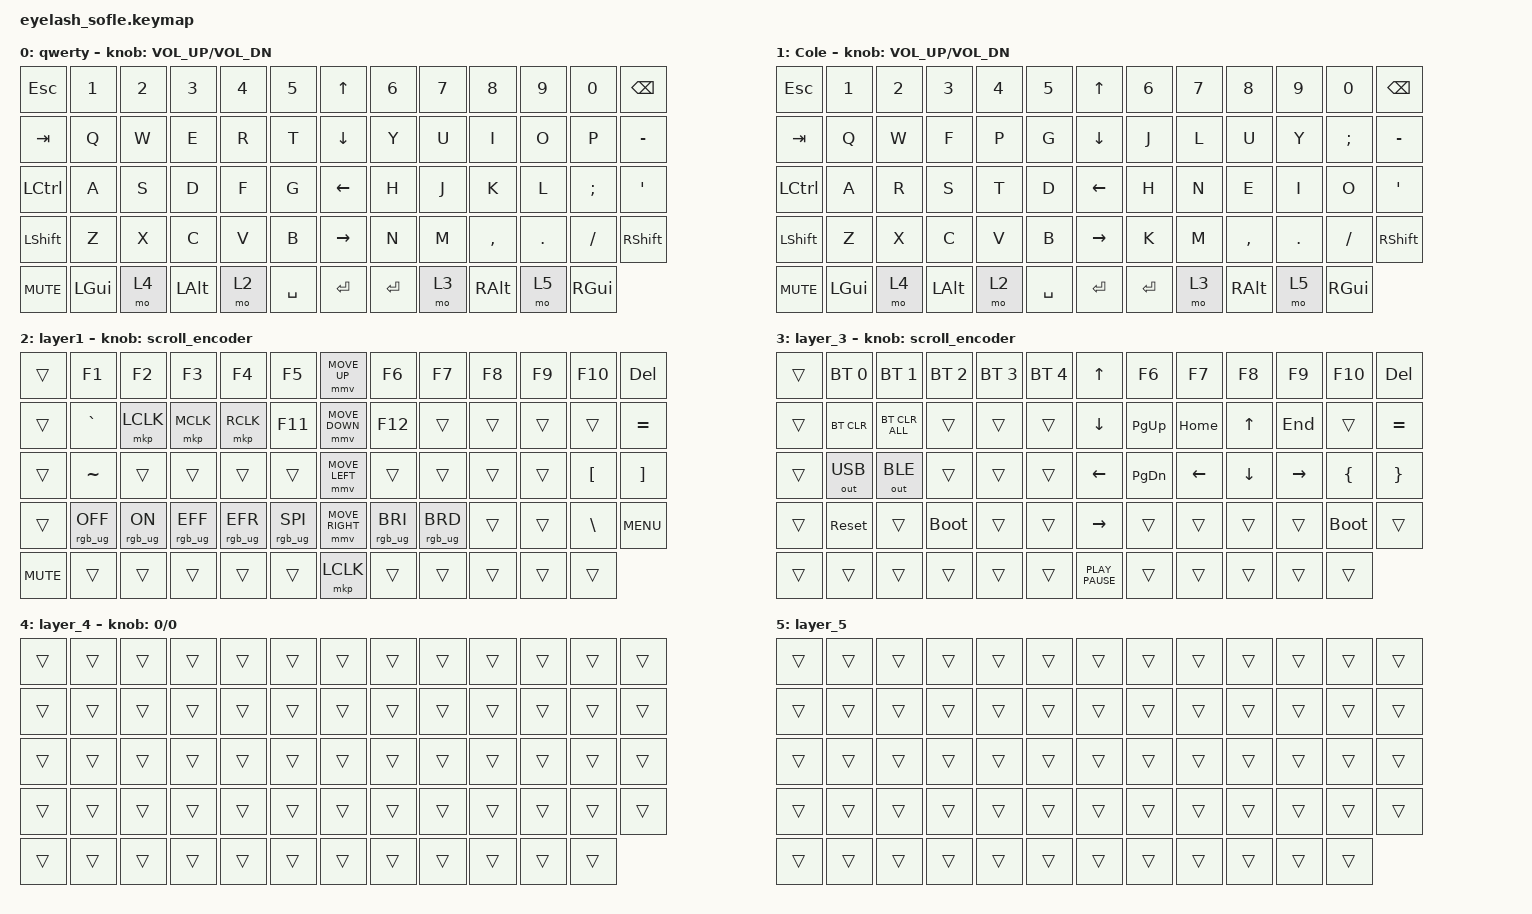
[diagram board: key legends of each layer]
#define ZMK_POINTING_DEFAULT_MOVE_VAL 1200  // 600
#define ZMK_POINTING_DEFAULT_SCRL_VAL 35    // 10

#include <input/processors.dtsi>
#include <zephyr/dt-bindings/input/input-event-codes.h>
#include <behaviors.dtsi>
#include <dt-bindings/zmk/bt.h>
#include <dt-bindings/zmk/keys.h>
#include <dt-bindings/zmk/outputs.h>
#include <dt-bindings/zmk/pointing.h>
#include <dt-bindings/zmk/rgb.h>

/ {
    zip_scroll_scaler: zip_scroll_scaler {
        compatible = "zmk,input-processor-scaler";
        #input-processor-cells = <2>;
        type = <INPUT_EV_REL>;
        codes = <INPUT_REL_WHEEL INPUT_REL_HWHEEL>;
        track-remainders;
    };
};

&mmv_input_listener { input-processors = <&zip_xy_scaler 2 1>; };

&msc_input_listener { input-processors = <&zip_scroll_scaler 2 1>; };

&msc {
    acceleration-exponent = <0>;      // 0
    time-to-max-speed-ms = <0>;       // 300
    delay-ms = <0>;                   // 0
};

&mmv {
    time-to-max-speed-ms = <400>;
    acceleration-exponent = <1>;
};

/ {
    scroll_encoder: scroll_encoder {
        compatible = "zmk,behavior-sensor-rotate";
        #sensor-binding-cells = <0>;
        bindings = <&msc SCRL_DOWN>, <&msc SCRL_UP>;

        tap-ms = <30>;
    };

    behaviors {
    };

    combos {
        compatible = "zmk,combos";

        COLE {
            bindings = <&tog 1>;
            key-positions = <43 44 7>;
            layers = <0 1>;
        };
    };

    keymap {
        compatible = "zmk,keymap";

        layer_0 {
            bindings = <
&kp ESCAPE        &kp N1        &kp N2  &kp N3        &kp N4  &kp N5       &kp UP_ARROW     &kp N6     &kp N7  &kp N8         &kp N9   &kp N0         &kp BACKSPACE
&kp TAB           &kp Q         &kp W   &kp E         &kp R   &kp T        &kp DOWN_ARROW   &kp Y      &kp U   &kp I          &kp O    &kp P          &kp MINUS
&kp LEFT_CONTROL  &kp A         &kp S   &kp D         &kp F   &kp G        &kp LEFT_ARROW   &kp H      &kp J   &kp K          &kp L    &kp SEMI       &kp APOS
&kp LSHFT         &kp Z         &kp X   &kp C         &kp V   &kp B        &kp RIGHT_ARROW  &kp N      &kp M   &kp COMMA      &kp DOT  &kp FSLH       &kp RIGHT_SHIFT
&kp C_MUTE        &kp LEFT_GUI  &mo 4   &kp LEFT_ALT  &mo 2   &kp SPACE    &kp ENTER        &kp ENTER  &mo 3   &kp RIGHT_ALT  &mo 5    &kp RIGHT_GUI
            >;

            sensor-bindings = <&inc_dec_kp C_VOLUME_UP C_VOL_DN>;
            display-name = "qwerty";
        };

        Layer_1 {
            display-name = "Cole";
            bindings = <
&kp ESCAPE        &kp N1        &kp N2  &kp N3        &kp N4  &kp N5       &kp UP_ARROW     &kp N6     &kp N7  &kp N8         &kp N9   &kp N0         &kp BACKSPACE
&kp TAB           &kp Q         &kp W   &kp F         &kp P   &kp G        &kp DOWN_ARROW   &kp J      &kp L   &kp U          &kp Y    &kp SEMI       &kp MINUS
&kp LEFT_CONTROL  &kp A         &kp R   &kp S         &kp T   &kp D        &kp LEFT_ARROW   &kp H      &kp N   &kp E          &kp I    &kp O          &kp APOS
&kp LSHFT         &kp Z         &kp X   &kp C         &kp V   &kp B        &kp RIGHT_ARROW  &kp K      &kp M   &kp COMMA      &kp DOT  &kp FSLH       &kp RIGHT_SHIFT
&kp C_MUTE        &kp LEFT_GUI  &mo 4   &kp LEFT_ALT  &mo 2   &kp SPACE    &kp ENTER        &kp ENTER  &mo 3   &kp RIGHT_ALT  &mo 5    &kp RIGHT_GUI
            >;

            sensor-bindings = <&inc_dec_kp C_VOLUME_UP C_VOL_DN>;
        };

        layer_2 {
            bindings = <
&trans      &kp F1           &kp F2          &kp F3           &kp F4           &kp F5             &mmv MOVE_UP     &kp F6           &kp F7           &kp F8  &kp F9  &kp F10           &kp DELETE
&trans      &kp GRAVE        &mkp LCLK       &mkp MCLK        &mkp RCLK        &kp F11            &mmv MOVE_DOWN   &kp F12          &trans           &trans  &trans  &trans            &kp EQUAL
&trans      &kp TILDE        &trans          &trans           &trans           &trans             &mmv MOVE_LEFT   &trans           &trans           &trans  &trans  &kp LEFT_BRACKET  &kp RIGHT_BRACKET
&trans      &rgb_ug RGB_OFF  &rgb_ug RGB_ON  &rgb_ug RGB_EFF  &rgb_ug RGB_EFR  &rgb_ug RGB_SPI    &mmv MOVE_RIGHT  &rgb_ug RGB_BRI  &rgb_ug RGB_BRD  &trans  &trans  &kp BACKSLASH     &kp K_MENU
&kp C_MUTE  &trans           &trans          &trans           &trans           &trans             &mkp LCLK        &trans           &trans           &trans  &trans  &trans
            >;

            display-name = "layer1";
            sensor-bindings = <&scroll_encoder>;
        };

        layer_3 {
            bindings = <
&trans  &bt BT_SEL 0  &bt BT_SEL 1    &bt BT_SEL 2  &bt BT_SEL 3  &bt BT_SEL 4    &kp UP_ARROW      &kp F6         &kp F7          &kp F8        &kp F9           &kp F10      &kp DELETE
&trans  &bt BT_CLR    &bt BT_CLR_ALL  &trans        &trans        &trans          &kp DOWN_ARROW    &kp PAGE_UP    &kp HOME        &kp UP_ARROW  &kp END          &trans       &kp EQUAL
&trans  &out OUT_USB  &out OUT_BLE    &trans        &trans        &trans          &kp LEFT_ARROW    &kp PAGE_DOWN  &kp LEFT_ARROW  &kp DOWN      &kp RIGHT_ARROW  &kp LBRC     &kp RBRC
&trans  &sys_reset    &trans          &bootloader   &trans        &trans          &kp RIGHT_ARROW   &trans         &trans          &trans        &trans           &bootloader  &trans
&trans  &trans        &trans          &trans        &trans        &trans          &kp K_PLAY_PAUSE  &trans         &trans          &trans        &trans           &trans
            >;

            sensor-bindings = <&scroll_encoder>;
        };

        layer_4 {
            bindings = <
&trans  &trans  &trans  &trans  &trans  &trans    &trans  &trans  &trans  &trans  &trans  &trans  &trans
&trans  &trans  &trans  &trans  &trans  &trans    &trans  &trans  &trans  &trans  &trans  &trans  &trans
&trans  &trans  &trans  &trans  &trans  &trans    &trans  &trans  &trans  &trans  &trans  &trans  &trans
&trans  &trans  &trans  &trans  &trans  &trans    &trans  &trans  &trans  &trans  &trans  &trans  &trans
&trans  &trans  &trans  &trans  &trans  &trans    &trans  &trans  &trans  &trans  &trans  &trans
            >;

            sensor-bindings = <&inc_dec_kp 0 0>;
        };

        layer_5 {
            bindings = <
&trans  &trans  &trans  &trans  &trans  &trans    &trans  &trans  &trans  &trans  &trans  &trans  &trans
&trans  &trans  &trans  &trans  &trans  &trans    &trans  &trans  &trans  &trans  &trans  &trans  &trans
&trans  &trans  &trans  &trans  &trans  &trans    &trans  &trans  &trans  &trans  &trans  &trans  &trans
&trans  &trans  &trans  &trans  &trans  &trans    &trans  &trans  &trans  &trans  &trans  &trans  &trans
&trans  &trans  &trans  &trans  &trans  &trans    &trans  &trans  &trans  &trans  &trans  &trans
            >;
        };
    };
};
